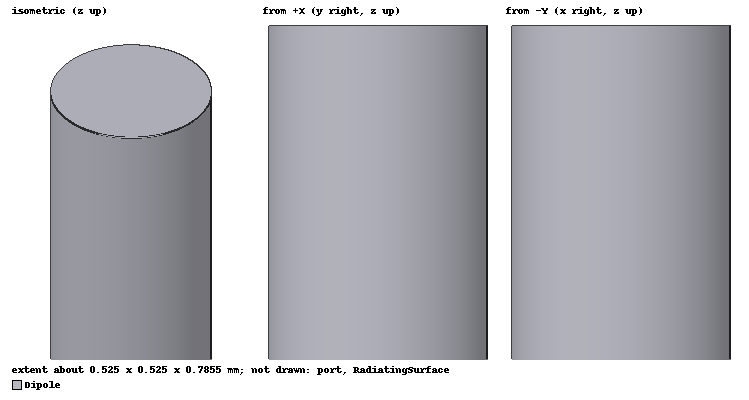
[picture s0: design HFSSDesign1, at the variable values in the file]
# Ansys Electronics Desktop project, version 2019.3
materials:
  vacuum: permittivity=1
  Rogers RT/duroid 5880 (tm): permittivity=2.2 dielectric_loss_tangent=0.0009
  pec: conductivity=1e+30
  Rogers RO4003 (tm): permittivity=3.55 dielectric_loss_tangent=0.0027
  air: permittivity=1.0006 permeability=1.0000004
  probefill: permittivity=1.9

design HFSSDesign1 (HFSS, DrivenModal, model units mm)
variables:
  dl = 139.5mm
  rdi = 0.2625mm
  gap_L = 1mm
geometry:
  Dipole [pec] = cylinder(axis=Z, base_centre=(0mm, 0mm, -dl/2), radius=rdi, height=dl)
  port [vacuum] = cylinder(axis=Z, base_centre=(0mm, 0mm, -gap_L/2), radius=rdi, height=gap_L)
  port_1 = port.copy()
  Dipole.subtract(port_1)
  port_Section1 = port.section(plane=YZ)
  RadiatingSurface [vacuum] = region(absolute_offset=100mm on all sides)
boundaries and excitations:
  Open1: Radiation Objects=RadiatingSurface
  1: Lumped Port Objects=port_Section1 Modes{Mode1{IntLine{middle of port_Section1.edge(at (0, 0, 0.5)) -> middle of port_Section1.edge(at (0, 0, -0.5))} CharImp=Zpi RenormImp=50ohm}} Impedance=50ohm
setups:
  Setup1: HfssDriven Frequency=1GHz MaxDeltaS=0.02 MaximumPasses=18 MinimumPasses=1 MinimumConvergedPasses=1 PercentRefinement=30 BasisOrder=1 PortAccuracy=2
    sweep Sweep: 500MHz to 1500MHz, 201 points; Type=Interpolating SaveFields InterpTolerance=0.5 InterpMaxSolns=250 InterpUsePortImped=false PassivityErrorTolerance=0.0001
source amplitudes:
  1:1: 1W 0deg
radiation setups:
  3D: Infinite Sphere Theta=0deg..360deg step 2deg Phi=-180deg..180deg step 2deg
  Elevation: Infinite Sphere Theta=-180deg..180deg step 1deg Phi=0deg..90deg step 90deg
  Azimuth: Infinite Sphere Theta=90deg..90deg step 0deg Phi=-180deg..180deg step 1deg
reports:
  S11: dB(S(1,1)) vs Freq on Setup1 : Sweep; markers MX1 at x=1.0109667e+09, MY1 at y=-10.0435
  Zin: re(Z(1,1)), im(Z(1,1)) vs Freq on Setup1 : Sweep; markers MX1 at x=1e+09
  VSWR: VSWR(1) vs Freq on Setup1 : Sweep; markers MX1 at x=1e+09
  Gain_3D: dB(GainTotal) vs Phi, Theta on Setup1 : LastAdaptive, 3D [Freq=1GHz]
  Gain_2D: dB(GainTotal) vs Theta on Setup1 : LastAdaptive, 3D [Phi=0deg,90deg Freq=1GHz]
